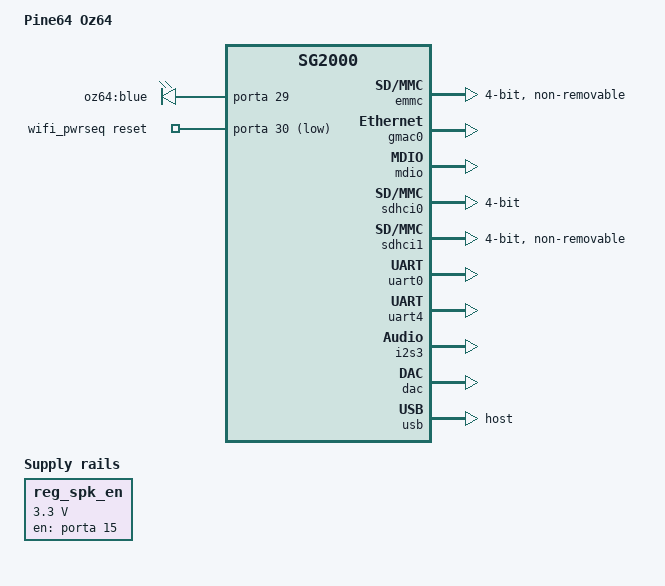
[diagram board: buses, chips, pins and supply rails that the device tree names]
// SPDX-License-Identifier: (GPL-2.0 OR MIT)

/dts-v1/;

#include <dt-bindings/gpio/gpio.h>
#include <dt-bindings/pinctrl/pinctrl-sg2000.h>
#include "sg2000.dtsi"

/ {
	model = "Pine64 Oz64";
	compatible = "pine64,oz64", "sophgo,sg2000";

	aliases {
		mmc0 = &sdhci0;
		mmc1 = &emmc;
		mmc2 = &sdhci1;
		serial0 = &uart0;
		serial4 = &uart4;
	};

	chosen {
		stdout-path = "serial0:1500000n8";
	};

	leds {
		compatible = "gpio-leds";

		blue {
			label = "oz64:blue";
			gpios = <&porta 29 GPIO_ACTIVE_HIGH>;
		};
	};

	/*
	 * CVSNFC SPI NAND controller.  U12 shares the eMMC pads, so this stays
	 * disabled while the eMMC module is the boot medium.  There is no
	 * mainline driver for "cvitek,cv1835-spinf" yet; see
	 * docs/oz64-spi-nand.md in h700-harness-oz64.
	 */
	spinand: spi@4060000 {
		compatible = "cvitek,cv1835-spinf";
		reg = <0x04060000 0x1000>;
		interrupts = <GIC_SPI 23 IRQ_TYPE_LEVEL_HIGH>;
		clocks = <&clk CLK_SPI_NAND>;
		clock-names = "core";
		resets = <&rst RST_SPI_NAND>;
		reset-names = "core";
		bus-width = <4>;
		pinctrl-0 = <&spinand_cfg>;
		pinctrl-names = "default";
		status = "disabled";
	};

	wifi_pwrseq: wifi-pwrseq {
		compatible = "mmc-pwrseq-simple";
		reset-gpios = <&porta 30 GPIO_ACTIVE_LOW>;
		power-off-delay-us = <50000>;
		post-power-on-delay-ms = <200>;
		pinctrl-0 = <&wifi_pwr_cfg>;
		pinctrl-names = "default";
	};

	sound {
		compatible = "simple-audio-card";
		simple-audio-card,name = "Oz64";
		simple-audio-card,mclk-fs = <256>;
		#address-cells = <1>;
		#size-cells = <0>;

		simple-audio-card,dai-link@0 {
			reg = <0>;
			format = "i2s";
			bitclock-master = <&playback_cpu>;
			frame-master = <&playback_cpu>;

			playback_cpu: cpu {
				sound-dai = <&i2s3>;
				system-clock-frequency = <12288000>;
			};

			codec {
				sound-dai = <&dac>;
			};
		};
	};

	reg_spk_en: regulator-spk-en {
		compatible = "regulator-fixed";
		regulator-name = "spk-en";
		regulator-min-microvolt = <3300000>;
		regulator-max-microvolt = <3300000>;
		gpio = <&porta 15 GPIO_ACTIVE_HIGH>;
		enable-active-high;
		regulator-always-on;
		startup-delay-us = <10000>;
		pinctrl-0 = <&spk_en_cfg>;
		pinctrl-names = "default";
	};
};

&osc {
	clock-frequency = <25000000>;
};

/*
 * VDDIO_EMMC is 3.3 V on the Oz64 and is shared by the eMMC, UART0 and
 * AUX0 pin groups.  The pinctrl driver permits one voltage per domain, so
 * all three use 3300; VDDIO_SD1, VDDIO18_1 and VDDIO_RTC are 1.8 V.
 */
&pinctrl {
	emmc_cfg: emmc-cfg {
		emmc-rstn-pins {
			pinmux = <PINMUX(PIN_EMMC_RSTN, 0)>;
			bias-pull-up;
			drive-strength-microamp = <10800>;
			power-source = <3300>;
		};

		emmc-clk-pins {
			pinmux = <PINMUX(PIN_EMMC_CLK, 0)>;
			bias-pull-up;
			drive-strength-microamp = <10800>;
			power-source = <3300>;
		};

		emmc-cmd-pins {
			pinmux = <PINMUX(PIN_EMMC_CMD, 0)>;
			bias-pull-up;
			drive-strength-microamp = <10800>;
			power-source = <3300>;
		};

		emmc-data-pins {
			pinmux = <PINMUX(PIN_EMMC_DAT0, 0)>,
				 <PINMUX(PIN_EMMC_DAT1, 0)>,
				 <PINMUX(PIN_EMMC_DAT2, 0)>,
				 <PINMUX(PIN_EMMC_DAT3, 0)>;
			bias-pull-up;
			drive-strength-microamp = <10800>;
			power-source = <3300>;
		};
	};

	spinand_cfg: spinand-cfg {
		spinand-pins {
			pinmux = <PINMUX(PIN_EMMC_CLK, 2)>,
				 <PINMUX(PIN_EMMC_CMD, 2)>,
				 <PINMUX(PIN_EMMC_DAT0, 2)>,
				 <PINMUX(PIN_EMMC_DAT1, 2)>,
				 <PINMUX(PIN_EMMC_DAT2, 2)>,
				 <PINMUX(PIN_EMMC_DAT3, 2)>;
			bias-pull-up;
			drive-strength-microamp = <10800>;
			power-source = <3300>;
		};
	};

	/*
	 * The microSD socket's SD0_CD pin is wired (100R series + 47k pull-up to
	 * SD_PWR_3V3 on schematic sheet 6).  Mux it to the SDIO0 function so the
	 * controller's card-detect input works even when the bootloader does not
	 * leave it muxed, and so a card inserted after boot is detected.  Same
	 * group as sg2000-milkv-duo-s.dts.
	 */
	sdhci0_cfg: sdhci0-cfg {
		sdhci0-cd-pins {
			pinmux = <PINMUX(PIN_SD0_CD, 0)>;
			bias-pull-up;
			drive-strength-microamp = <10800>;
			power-source = <3300>;
		};

		sdhci0-clk-pins {
			pinmux = <PINMUX(PIN_SD0_CLK, 0)>;
			bias-pull-up;
			drive-strength-microamp = <16100>;
			power-source = <3300>;
		};

		sdhci0-cmd-pins {
			pinmux = <PINMUX(PIN_SD0_CMD, 0)>;
			bias-pull-up;
			drive-strength-microamp = <10800>;
			power-source = <3300>;
		};

		sdhci0-data-pins {
			pinmux = <PINMUX(PIN_SD0_D0, 0)>,
				 <PINMUX(PIN_SD0_D1, 0)>,
				 <PINMUX(PIN_SD0_D2, 0)>,
				 <PINMUX(PIN_SD0_D3, 0)>;
			bias-pull-up;
			drive-strength-microamp = <10800>;
			power-source = <3300>;
		};
	};

	sdhci1_cfg: sdhci1-cfg {
		sdhci1-clk-pins {
			pinmux = <PINMUX(PIN_SD1_CLK, 0)>;
			bias-pull-up;
			drive-strength-microamp = <10800>;
			power-source = <1800>;
		};

		sdhci1-cmd-pins {
			pinmux = <PINMUX(PIN_SD1_CMD, 0)>;
			bias-pull-up;
			drive-strength-microamp = <10800>;
			power-source = <1800>;
		};

		sdhci1-data-pins {
			pinmux = <PINMUX(PIN_SD1_D0, 0)>,
				 <PINMUX(PIN_SD1_D1, 0)>,
				 <PINMUX(PIN_SD1_D2, 0)>,
				 <PINMUX(PIN_SD1_D3, 0)>;
			bias-pull-up;
			drive-strength-microamp = <10800>;
			power-source = <1800>;
		};
	};

	uart0_cfg: uart0-cfg {
		uart0-pins {
			pinmux = <PINMUX(PIN_UART0_TX, 0)>,
				 <PINMUX(PIN_UART0_RX, 0)>;
			bias-pull-up;
			drive-strength-microamp = <10800>;
			power-source = <3300>;
		};
	};

	uart4_cfg: uart4-cfg {
		uart4-data-pins {
			pinmux = <PINMUX(PIN_UART2_TX, 5)>,
				 <PINMUX(PIN_UART2_RX, 5)>;
			drive-strength-microamp = <10800>;
			power-source = <1800>;
		};

		uart4-control-pins {
			pinmux = <PINMUX(PIN_UART2_CTS, 5)>,
				 <PINMUX(PIN_UART2_RTS, 5)>;
			bias-pull-up;
			drive-strength-microamp = <10800>;
			power-source = <1800>;
		};
	};

	wifi_pwr_cfg: wifi-pwr-cfg {
		wifi-pwr-pins {
			pinmux = <PINMUX(PIN_AUX0, 3)>;
			bias-pull-down;
			drive-strength-microamp = <10800>;
			power-source = <3300>;
		};
	};

	spk_en_cfg: spk-en-cfg {
		spk-en-pins {
			pinmux = <PINMUX(PIN_SPK_EN, 3)>;
			bias-pull-down;
			drive-strength-microamp = <10800>;
			power-source = <3300>;
		};
	};
};

&dmac {
	status = "okay";
};

&emmc {
	/*
	 * The Oz64 eMMC is unreliable at 52 MHz/4-bit: U-Boot takes read
	 * errors at that mode and the live installer must read and write the
	 * user area.  Hardware validated 26 MHz with four data lines: U-Boot
	 * reports Bus Speed 26000000, Bus Width 4-bit, and the existing eMMC
	 * NixOS boots from it.  Keep this capped setting; raise the clock only
	 * after a hardware read/write/erase test at 52 MHz passes.
	 */
	bus-width = <4>;
	cap-mmc-hw-reset;
	max-frequency = <26000000>;
	no-1-8-v;
	no-sd;
	no-sdio;
	non-removable;
	pinctrl-0 = <&emmc_cfg>;
	pinctrl-names = "default";
	status = "okay";
};

&gmac0 {
	/*
	 * The internal ePHY and its MDIO mux are described by the SoC dtsi;
	 * the inherited phy-mode is "internal" and works on this board
	 * (100Mbps/Full, hardware-verified 2026-11-04).
	 */
	status = "okay";
};

&mdio {
	status = "okay";
};

&sdhci0 {
	bus-width = <4>;
	disable-wp;
	no-1-8-v;
	pinctrl-0 = <&sdhci0_cfg>;
	pinctrl-names = "default";
	status = "okay";
};

&sdhci1 {
	bus-width = <4>;
	cap-sdio-irq;
	no-mmc;
	no-sd;
	non-removable;
	max-frequency = <50000000>;
	mmc-pwrseq = <&wifi_pwrseq>;
	pinctrl-0 = <&sdhci1_cfg>;
	pinctrl-names = "default";
	status = "okay";
};

&uart0 {
	pinctrl-0 = <&uart0_cfg>;
	pinctrl-names = "default";
	status = "okay";
};

&uart4 {
	pinctrl-0 = <&uart4_cfg>;
	pinctrl-names = "default";
	uart-has-rtscts;
	status = "okay";
};

/*
 * Reboot on the Oz64.
 *
 * U-Boot resets the board by writing 1 to 0x0300bef0, but that undocumented
 * register does not reset this board when driven from Linux, so it is not
 * used here.  PSCI reset does not reset this board, RTC reset needs the RTC
 * clock, and the watchdog is not used.
 *
 * Use the documented RSTGEN whole-chip reset instead: set sys_ctrl_reg bit 5
 * to enable it, then clear SOFT_RSTN_2 bit 12 to trigger it.  syscon-reboot
 * logs "Unable to restart system" and waits 1 s after each write before
 * returning to the notifier chain, so the enable handler's warning and delay
 * before reboot-trigger resets the board are expected.  reboot-cpuac is a
 * last-resort fallback.
 */
&syscon {
	/*
	 * Whole-chip system soft reset: set sys_ctrl_reg bit 5 to enable the
	 * reset, then clear SOFT_RSTN_2 bit 12 in &rst below.
	 */
	reboot-enable {
		compatible = "syscon-reboot";
		offset = <0x8>;
		mask = <0x20>;
		value = <0x20>;
		priority = <200>;
	};
};

&rst {
	/* Keep the reset-simple compatible first; add syscon for the children. */
	compatible = "sophgo,cv1800b-reset", "syscon", "simple-mfd";

	reboot-trigger {
		compatible = "syscon-reboot";
		offset = <0x8>;
		mask = <0x1000>;
		value = <0x0>;
		priority = <199>;
	};

	/* Documented CPU/CPUSYS reset; the selected bits auto-clear. */
	reboot-cpuac {
		compatible = "syscon-reboot";
		offset = <0x20>;
		mask = <0x7f>;
		value = <0x0>;
		priority = <198>;
	};
};

&{/soc} {
	i2s3: i2s@4130000 {
		compatible = "sophgo,cv1800b-i2s";
		reg = <0x04130000 0x1000>;
		clocks = <&clk CLK_APB_I2S3>, <&clk CLK_SDMA_AUD3>;
		clock-names = "i2s", "mclk";
		dmas = <&dmamux 7 0>;
		dma-names = "tx";
		#sound-dai-cells = <0>;
		status = "okay";
	};

	dac: audio-codec@300a000 {
		compatible = "sophgo,cv1800b-sound-dac";
		reg = <0x0300a000 0x100>;
		#sound-dai-cells = <0>;
		status = "okay";
	};
};

&usb {
	/* VBUS power is handled by the in-tree cv1800b USB2 PHY driver. */
	dr_mode = "host";
	status = "okay";
};
